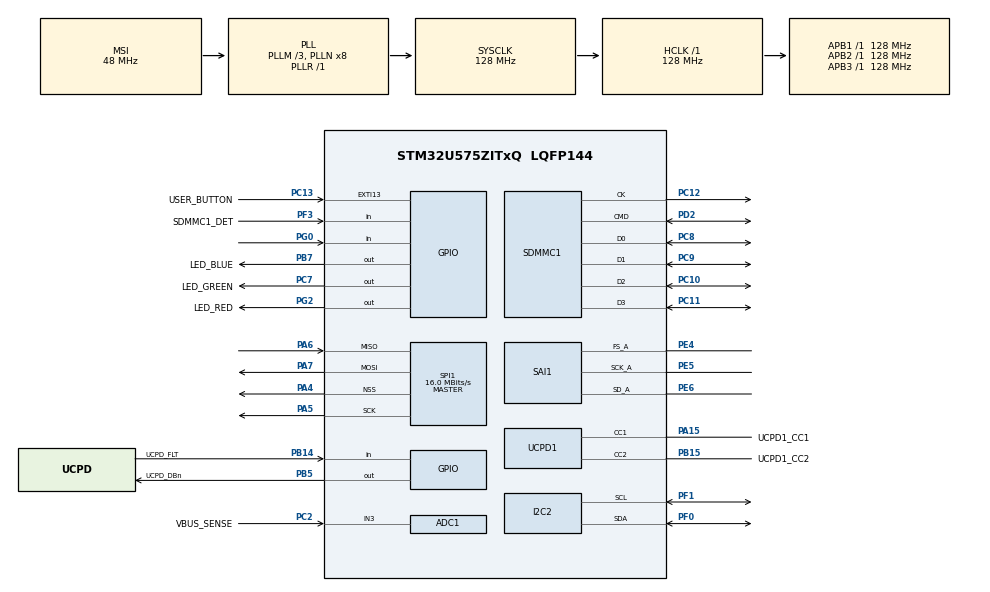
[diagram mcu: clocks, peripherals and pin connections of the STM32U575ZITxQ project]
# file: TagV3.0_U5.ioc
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ADC1.NbrOfConversion=1
ADC1.Resolution=ADC_RESOLUTION_14B
ADC1.master=1
CORTEX_M33_NS.userName=CORTEX_M33
FILEX.FX_FAULT_TOLERANT=1
FILEX.FX_FAULT_TOLERANT_DATA=1
FILEX.FX_SD_INTERFACE=1
GPDMA1.CIRCULARMODE_GPDMACH0=ENABLE
GPDMA1.DESTBURSTLENGTH_GPDMACH0=1
GPDMA1.DESTDATAWIDTH_GPDMACH0=DMA_DEST_DATAWIDTH_BYTE
GPDMA1.DESTINC_GPDMACH0=DMA_DINC_INCREMENTED
GPDMA1.IPHANDLE_GPDMACH0-SIMPLEREQUEST_GPDMACH0=__NULL
GPDMA1.PRIORITY_LL_CIRCULAR_GPDMACH0=DMA_HIGH_PRIORITY
GPDMA1.REQUEST_GPDMACH0=GPDMA1_REQUEST_SAI1_A
GPDMA1.SRCBURSTLENGTH_GPDMACH0=1
GPDMA1.SRCDATAWIDTH_GPDMACH0=DMA_SRC_DATAWIDTH_BYTE
I2C2.Timing=0x20A0C4DF
Mcu.Family=STM32U5
Mcu.Name=STM32U575ZITxQ
Mcu.Package=LQFP144
NVIC.GPDMA1_Channel0_IRQn=true\:0\:0\:false\:false\:true\:false\:true\:true
NVIC.PriorityGroup=NVIC_PRIORITYGROUP_3
NVIC.SDMMC1_IRQn=true\:0\:0\:false\:false\:true\:true\:true\:true
PA11.GPIO_Label=USB_OTG_FS_DM
PA11.GPIO_Speed=GPIO_SPEED_FREQ_VERY_HIGH
PA11.Signal=USB_OTG_FS_DM
PA12.GPIO_Label=USB_OTG_FS_DP
PA12.GPIO_Speed=GPIO_SPEED_FREQ_VERY_HIGH
PA12.Signal=USB_OTG_FS_DP
PA13\ (JTMS/SWDIO).Mode=Trace_Asynchronous_SW
PA13\ (JTMS/SWDIO).Signal=DEBUG_JTMS-SWDIO
PA14\ (JTCK/SWCLK).Mode=Trace_Asynchronous_SW
PA14\ (JTCK/SWCLK).Signal=DEBUG_JTCK-SWCLK
PA15\ (JTDI).GPIO_Label=UCPD1_CC1
PA15\ (JTDI).Mode=Sink_AllSignals
PA15\ (JTDI).Signal=UCPD1_CC1
PA4.Mode=NSS_Signal_Hard_Output
PA4.Signal=SPI1_NSS
PA5.Mode=Full_Duplex_Master
PA5.Signal=SPI1_SCK
PA6.Mode=Full_Duplex_Master
PA6.Signal=SPI1_MISO
PA7.Mode=Full_Duplex_Master
PA7.Signal=SPI1_MOSI
PB14.GPIO_Label=UCPD_FLT
PB14.Signal=GPIO_Input
PB15.GPIO_Label=UCPD1_CC2
PB15.Mode=Sink_AllSignals
PB15.Signal=UCPD1_CC2
PB3\ (JTDO/TRACESWO).Mode=Trace_Asynchronous_SW
PB3\ (JTDO/TRACESWO).Signal=DEBUG_JTDO-SWO
PB5.GPIO_Label=UCPD_DBn
PB5.Signal=GPIO_Output
PB7.GPIO_Label=LED_BLUE
PB7.GPIO_ModeDefaultOutputPP=GPIO_MODE_OUTPUT_PP
PB7.GPIO_PuPd=GPIO_PULLUP
PB7.GPIO_Speed=GPIO_SPEED_FREQ_HIGH
PB7.Signal=GPIO_Output
PC10.Mode=SD_4_bits_Wide_bus
PC10.Signal=SDMMC1_D2
PC11.Mode=SD_4_bits_Wide_bus
PC11.Signal=SDMMC1_D3
PC12.Mode=SD_4_bits_Wide_bus
PC12.Signal=SDMMC1_CK
PC13.GPIO_Label=USER_BUTTON
PC13.GPIO_ModeDefaultEXTI=GPIO_MODE_IT_FALLING
PC13.Signal=GPXTI13
PC14-OSC32_IN\ (PC14).Mode=LSE-External-Oscillator
PC14-OSC32_IN\ (PC14).Signal=RCC_OSC32_IN
PC15-OSC32_OUT\ (PC15).Mode=LSE-External-Oscillator
PC15-OSC32_OUT\ (PC15).Signal=RCC_OSC32_OUT
PC2.GPIO_Label=VBUS_SENSE
PC2.Mode=IN3-Single-Ended
PC2.Signal=ADC1_IN3
PC7.GPIO_Label=LED_GREEN
PC7.GPIO_PuPd=GPIO_PULLUP
PC7.GPIO_Speed=GPIO_SPEED_FREQ_HIGH
PC7.Signal=GPIO_Output
PC8.Mode=SD_4_bits_Wide_bus
PC8.Signal=SDMMC1_D0
PC9.Mode=SD_4_bits_Wide_bus
PC9.Signal=SDMMC1_D1
PD2.Mode=SD_4_bits_Wide_bus
PD2.Signal=SDMMC1_CMD
PE4.Mode=SAI_A_AsyncSlave
PE4.Signal=SAI1_FS_A
PE5.Mode=SAI_A_AsyncSlave
PE5.Signal=SAI1_SCK_A
PE6.Mode=SAI_A_AsyncSlave
PE6.Signal=SAI1_SD_A
PF0.Mode=I2C
PF0.Signal=I2C2_SDA
PF1.Mode=I2C
PF1.Signal=I2C2_SCL
PF3.GPIO_Label=SDMMC1_DET
PF3.Signal=GPIO_Input
PG0.Signal=GPIO_Input
PG2.GPIO_Label=LED_RED
PG2.GPIO_ModeDefaultOutputPP=GPIO_MODE_OUTPUT_PP
PG2.GPIO_PuPd=GPIO_PULLUP
PG2.GPIO_Speed=GPIO_SPEED_FREQ_HIGH
PG2.Signal=GPIO_Output
PWR.PowerMode=PWR_SMPS_SUPPLY
ProjectManager.HeapSize=0x200
ProjectManager.StackSize=0x400
ProjectManager.TargetToolchain=STM32CubeIDE
RCC.ADCFreq_Value=16000000
RCC.AHBFreq_Value=128000000
RCC.APB1Freq_Value=128000000
RCC.APB1TimFreq_Value=128000000
RCC.APB2Freq_Value=128000000
RCC.APB2TimFreq_Value=128000000
RCC.APB3Freq_Value=128000000
RCC.CortexFreq_Value=128000000
RCC.DACCLockSelectionVirtual=RCC_DAC1CLKSOURCE_LSI
RCC.EPOD_VALUE=48000000
RCC.HCLKFreq_Value=128000000
RCC.HSE_VALUE=16000000
RCC.HSI48_VALUE=48000000
RCC.HSI_VALUE=16000000
RCC.LSIDIV_VALUE=32000
RCC.MSIClockRange=RCC_MSIRANGE_0
RCC.MSI_VALUE=48000000
RCC.PLL1P=1
RCC.PLL1R=1
RCC.PLL2FRACN=0
RCC.PLL2M=3
RCC.PLL2N=8
RCC.PLL2P=1
RCC.PLLFRACN=0
RCC.PLLM=3
RCC.PLLN=8
RCC.SDMMCClockSelection=RCC_SDMMCCLKSOURCE_CLK48
RCC.SYSCLKFreq_VALUE=128000000
RCC.SYSCLKSource=RCC_SYSCLKSOURCE_PLLCLK
RCC.USBFreq_Value=48000000
RCC.VCOOutputFreq_Value=128000000
RTC.BinMode=RTC_BINARY_NONE
RTC.Date=27
RTC.Format=RTC_FORMAT_BIN
RTC.Month=RTC_MONTH_APRIL
RTC.WeekDay=RTC_WEEKDAY_THURSDAY
RTC.Year=23
SAI1.DataSize-SAI_A_AsyncSlave=SAI_DATASIZE_8
SAI1.FirstBitOffset-SAI_A_AsyncSlave=0
SAI1.FrameLength-SAI_A_AsyncSlave=128
SAI1.Instance-SAI_A_AsyncSlave=SAI$Index_Block_A
SAI1.MonoStereoMode-SAI_A_AsyncSlave=SAI_STEREOMODE
SAI1.SlotActive-SAI_A_AsyncSlave=0x00000FFF
SAI1.SlotNumber-SAI_A_AsyncSlave=16
SAI1.SlotSize-SAI_A_AsyncSlave=SAI_SLOTSIZE_DATASIZE
SAI1.VirtualMode-SAI_A_AsyncSlave=VM_SLAVE
SAI1.VirtualSlotActive-SAI_A_AsyncSlave=SAI_SLOT_USERSETTING
SAI1.VirtualSlotActive0-SAI_A_AsyncSlave=true
SAI1.VirtualSlotActive1-SAI_A_AsyncSlave=true
SAI1.VirtualSlotActive10-SAI_A_AsyncSlave=true
SAI1.VirtualSlotActive11-SAI_A_AsyncSlave=true
SAI1.VirtualSlotActive2-SAI_A_AsyncSlave=true
SAI1.VirtualSlotActive3-SAI_A_AsyncSlave=true
SAI1.VirtualSlotActive4-SAI_A_AsyncSlave=true
SAI1.VirtualSlotActive5-SAI_A_AsyncSlave=true
SAI1.VirtualSlotActive6-SAI_A_AsyncSlave=true
SAI1.VirtualSlotActive7-SAI_A_AsyncSlave=true
SAI1.VirtualSlotActive8-SAI_A_AsyncSlave=true
SAI1.VirtualSlotActive9-SAI_A_AsyncSlave=true
SDMMC1.ClockDiv=2
SDMMC1.ClockEdge=SDMMC_CLOCK_EDGE_RISING
SDMMC1.ClockPowerSave=SDMMC_CLOCK_POWER_SAVE_ENABLE
SDMMC1.HardwareFlowControl=SDMMC_HARDWARE_FLOW_CONTROL_DISABLE
SDMMC1.TransceiverPresent=SDMMC_TRANSCEIVER_NOT_PRESENT
SPI1.BaudRatePrescaler=SPI_BAUDRATEPRESCALER_8
SPI1.CalculateBaudRate=16.0 MBits/s
SPI1.DataSize=SPI_DATASIZE_16BIT
SPI1.Direction=SPI_DIRECTION_2LINES
SPI1.MasterInterDataIdleness=SPI_MASTER_INTERDATA_IDLENESS_08CYCLE
SPI1.MasterKeepIOState=SPI_MASTER_KEEP_IO_STATE_DISABLE
SPI1.MasterSSIdleness=SPI_MASTER_SS_IDLENESS_00CYCLE
SPI1.Mode=SPI_MODE_MASTER
SPI1.VirtualNSS=VM_NSSHARD
SPI1.VirtualType=VM_MASTER
VP_FILEX_VS_FileOoSystemJjFileXJjCore.Mode=FileX_Core
VP_FILEX_VS_SDOointerface.Mode=SD_interface
VP_GPDMA1_VS_GPDMACH0.Mode=SIMPLEREQUEST_GPDMACH0
VP_LPBAMQUEUE_VS_QUEUE.Mode=QUEUEMODE
VP_LPBAM_VS_SIG1.Mode=SmartRun
VP_LPBAM_VS_SIG4.Mode=LPDMA1
VP_PWR_VS_DBSignals.Mode=DisableDeadBatterySignals
VP_PWR_VS_LPOM.Mode=PowerOptimisation
VP_PWR_VS_SECSignals.Mode=Security/Privilege
VP_RTC_VS_RTC_Activate.Mode=RTC_Enabled
VP_RTC_VS_RTC_Calendar.Mode=RTC_Calendar
board=NUCLEO-U575ZI-Q

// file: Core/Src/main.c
/* USER CODE BEGIN Header */
/**
  ******************************************************************************
  * @file           : main.c
  * @brief          : Main program body
  ******************************************************************************
  * @attention
  *
  * Copyright (c) 2023 STMicroelectronics.
  * All rights reserved.
  *
  * This software is licensed under terms that can be found in the LICENSE file
  * in the root directory of this software component.
  * If no LICENSE file comes with this software, it is provided AS-IS.
  *
  ******************************************************************************
  */
/* USER CODE END Header */
#include "main.h"
#include "app_filex.h"

/* USER CODE BEGIN Includes */
#include "ad7768.h"
#include "config.h"
#include "UnitTests.h"
/* USER CODE END Includes */

/* USER CODE BEGIN PTD */
typedef enum {
    AUDIO_BUF_STATE_EMPTY,
    AUDIO_BUF_STATE_HALF_FULL,
    AUDIO_BUF_STATE_FULL
}AudioBufferState;
/* USER CODE END PTD */

/* USER CODE BEGIN PM */
#define AUDIO_BUFFER_SIZE_SAMPLES (1600)
#define AUDIO_CHANNELS            (3)
#define AUDIO_BUFFER_SIZE_WORDS   (AUDIO_BUFFER_SIZE_SAMPLES * AUDIO_CHANNELS)
#define AUDIO_BUFFER_SIZE_BYTES   (AUDIO_BUFFER_SIZE_SAMPLES * AUDIO_CHANNELS * sizeof(uint32_t))
/* USER CODE END PM */

ADC_HandleTypeDef hadc1;

I2C_HandleTypeDef hi2c2;

RTC_HandleTypeDef hrtc;

SAI_HandleTypeDef hsai_BlockA1;
DMA_NodeTypeDef Node_GPDMA1_Channel0;
DMA_QListTypeDef List_GPDMA1_Channel0;
DMA_HandleTypeDef handle_GPDMA1_Channel0;

SD_HandleTypeDef hsd1;

SPI_HandleTypeDef hspi1;

/* USER CODE BEGIN PV */
ad7768_dev adc;
uint32_t audio_buffer[2][AUDIO_BUFFER_SIZE_SAMPLES][AUDIO_CHANNELS];
volatile AudioBufferState audio_buffer_state = AUDIO_BUF_STATE_EMPTY;

/* Define FileX global data structures.  */
FX_MEDIA        sdio_disk = {}; //struct must be initialized or invalid pointers exist

/* Buffer for FileX FX_MEDIA sector cache. */
ALIGN_32BYTES (uint32_t fx_sd_media_memory[FX_STM32_SD_DEFAULT_SECTOR_SIZE / sizeof(uint32_t)]);
TagConfig cfg;

/* USER CODE BEGIN PV */

/* Define FileX global data structures.  */
FX_FILE         fs;
FX_FILE         audio_file = {};
/* USER CODE END PV */

void SystemClock_Config(void);
static void SystemPower_Config(void);
static void MX_GPIO_Init(void);
static void MX_GPDMA1_Init(void);
static void MX_UCPD1_Init(void);
static void MX_SAI1_Init(void);
static void MX_ADC1_Init(void);
static void MX_SPI1_Init(void);
static void MX_I2C2_Init(void);
static void MX_SDMMC1_SD_Init(void);
static void MX_RTC_Init(void);

/* USER CODE BEGIN 0 */
#if (USE_HAL_SAI_REGISTER_CALLBACKS == 1)
void audio_SAI_RxHalfCpltCallback (SAI_HandleTypeDef * hsai)
#else
void HAL_SAI_RxHalfCpltCallback (SAI_HandleTypeDef * hsai)
#endif
{
//    if((audio_buffer_state != AUDIO_BUF_STATE_EMPTY)){
//        //To Do: error handling
//        //SD write not fast enough!!!!
//        //make buffer bigger!!!
//        return;
//    }
    audio_buffer_state = AUDIO_BUF_STATE_HALF_FULL;
}

#if (USE_HAL_SAI_REGISTER_CALLBACKS == 1)
void audio_SAI_RxCpltCallback (SAI_HandleTypeDef * hsai)
#else
void HAL_SAI_RxCpltCallback (SAI_HandleTypeDef * hsai)
#endif
{
//    if((audio_buffer_state != AUDIO_BUF_STATE_EMPTY)){
//        //To Do: error handling
//        //SD write not fast enough!!!!
//        //make buffer bigger!!!
//        return;
//    }
    audio_buffer_state = AUDIO_BUF_STATE_FULL;
}

void audio_SDWriteComplete(FX_FILE *file){
    audio_buffer_state = AUDIO_BUF_STATE_EMPTY;
}
/* USER CODE END 0 */

int main(void)
{
  /* USER CODE BEGIN 1 */
  HAL_StatusTypeDef ret;
  /* USER CODE END 1 */

  /* MCU Configuration--------------------------------------------------------*/

  /* Reset of all peripherals, Initializes the Flash interface and the Systick. */
  HAL_Init();

  /* Configure the system clock */
  SystemClock_Config();

  /* Configure the System Power */
  SystemPower_Config();

  /* Initialize all configured peripherals */
  MX_GPIO_Init();
  MX_GPDMA1_Init();
  MX_UCPD1_Init();
  MX_SAI1_Init();
  MX_ADC1_Init();
  MX_SPI1_Init();
  MX_I2C2_Init();
  MX_SDMMC1_SD_Init();
  MX_RTC_Init();
  MX_FileX_Init();
  /* USER CODE BEGIN 2 */
#ifdef UNIT_TESTS
    SDcard_UT();
#endif
  UINT fx_result;
  fx_result = fx_media_open(&sdio_disk, "", fx_stm32_sd_driver, (VOID *)FX_NULL, (VOID *) fx_sd_media_memory, sizeof(fx_sd_media_memory));
  if(fx_result != FX_SUCCESS){
      Error_Handler();
  }

  //read config file
  FX_FILE cfg_file;
  fx_result = fx_file_open(&sdio_disk, &cfg_file, "config.txt", FX_OPEN_FOR_READ);
  if(fx_result != FX_SUCCESS){
    TagConfig_read(&cfg, NULL); //default config
  }else{
    TagConfig_read(&cfg, &cfg_file);
  }
  fx_file_close(&cfg_file);

  //modify peripherals based on config settings

  //ToDo: generate filename from timestamp
  fx_result = fx_file_create(&sdio_disk, "audio_test3.bin");
  if((fx_result != FX_SUCCESS) && (fx_result != FX_ALREADY_CREATED)){
      Error_Handler();
  }

    //create audio file
  fx_result = fx_file_open(&sdio_disk, &audio_file, "audio_test3.bin", FX_OPEN_FOR_WRITE);
  if(fx_result != FX_SUCCESS){
      Error_Handler();
  }

  fx_result = fx_file_write_notify_set(&audio_file, audio_SDWriteComplete);
  if(fx_result != FX_SUCCESS){
      Error_Handler();
  }

  // initiate ADC/circular DMA Read
  ad7768_setup(&adc, &hspi1);
#if (USE_HAL_SAI_REGISTER_CALLBACKS == 1)
  HAL_SAI_RegisterCallback(&hsai_BlockA1, HAL_SAI_RX_HALFCOMPLETE_CB_ID, audio_SAI_RxHalfCpltCallback);
  HAL_SAI_RegisterCallback(&hsai_BlockA1, HAL_SAI_RX_COMPLETE_CB_ID, audio_SAI_RxCpltCallback);
#endif
  ret = HAL_SAI_Receive_DMA(&hsai_BlockA1, (uint8_t *)audio_buffer, 2*AUDIO_BUFFER_SIZE_BYTES);
  if(ret != HAL_OK){
    Error_Handler();
  }

  /* USER CODE END 2 */

  /* Infinite loop */
  /* USER CODE BEGIN WHILE */
  int count = 0;
  while (count < 5)
  {
      switch(audio_buffer_state){
          default: break;
          case AUDIO_BUF_STATE_HALF_FULL:
              fx_result = fx_file_write(&audio_file, audio_buffer[0], AUDIO_BUFFER_SIZE_BYTES);
              if(fx_result != FX_SUCCESS){
                  count = 5;
              }
              audio_buffer_state = AUDIO_BUF_STATE_EMPTY;
              break;
          case AUDIO_BUF_STATE_FULL:
              fx_result = fx_file_write(&audio_file, audio_buffer[1], AUDIO_BUFFER_SIZE_BYTES);
              if(fx_result != FX_SUCCESS){
                  count = 5;
              }
              audio_buffer_state = AUDIO_BUF_STATE_EMPTY;
              count++;
              break;
      }
    /* USER CODE END WHILE */

    /* USER CODE BEGIN 3 */
  }

  fx_file_close(&audio_file);
  fx_media_close(&sdio_disk);
  HAL_GPIO_WritePin(LED_GREEN_GPIO_Port, LED_GREEN_Pin, GPIO_PIN_SET);
  HAL_GPIO_WritePin(LED_BLUE_GPIO_Port, LED_BLUE_Pin, GPIO_PIN_SET);

  while(1){

//      if(sensor_buffer_full){
//          write to output
//      }

      //sleep!
  }
  /* USER CODE END 3 */
}

void SystemClock_Config(void)
{
  RCC_OscInitTypeDef RCC_OscInitStruct = {0};
  RCC_ClkInitTypeDef RCC_ClkInitStruct = {0};

  /** Configure the main internal regulator output voltage
  */
  if (HAL_PWREx_ControlVoltageScaling(PWR_REGULATOR_VOLTAGE_SCALE1) != HAL_OK)
  {
    Error_Handler();
  }

  /** Initializes the CPU, AHB and APB buses clocks
  */
  RCC_OscInitStruct.OscillatorType = RCC_OSCILLATORTYPE_HSI48|RCC_OSCILLATORTYPE_HSI
                              |RCC_OSCILLATORTYPE_LSI|RCC_OSCILLATORTYPE_MSI;
  RCC_OscInitStruct.HSIState = RCC_HSI_ON;
  RCC_OscInitStruct.HSI48State = RCC_HSI48_ON;
  RCC_OscInitStruct.HSICalibrationValue = RCC_HSICALIBRATION_DEFAULT;
  RCC_OscInitStruct.LSIState = RCC_LSI_ON;
  RCC_OscInitStruct.MSIState = RCC_MSI_ON;
  RCC_OscInitStruct.MSICalibrationValue = RCC_MSICALIBRATION_DEFAULT;
  RCC_OscInitStruct.MSIClockRange = RCC_MSIRANGE_0;
  RCC_OscInitStruct.LSIDiv = RCC_LSI_DIV1;
  RCC_OscInitStruct.PLL.PLLState = RCC_PLL_ON;
  RCC_OscInitStruct.PLL.PLLSource = RCC_PLLSOURCE_MSI;
  RCC_OscInitStruct.PLL.PLLMBOOST = RCC_PLLMBOOST_DIV4;
  RCC_OscInitStruct.PLL.PLLM = 3;
  RCC_OscInitStruct.PLL.PLLN = 8;
  RCC_OscInitStruct.PLL.PLLP = 1;
  RCC_OscInitStruct.PLL.PLLQ = 2;
  RCC_OscInitStruct.PLL.PLLR = 1;
  RCC_OscInitStruct.PLL.PLLRGE = RCC_PLLVCIRANGE_1;
  RCC_OscInitStruct.PLL.PLLFRACN = 0;
  if (HAL_RCC_OscConfig(&RCC_OscInitStruct) != HAL_OK)
  {
    Error_Handler();
  }

  /** Initializes the CPU, AHB and APB buses clocks
  */
  RCC_ClkInitStruct.ClockType = RCC_CLOCKTYPE_HCLK|RCC_CLOCKTYPE_SYSCLK
                              |RCC_CLOCKTYPE_PCLK1|RCC_CLOCKTYPE_PCLK2
                              |RCC_CLOCKTYPE_PCLK3;
  RCC_ClkInitStruct.SYSCLKSource = RCC_SYSCLKSOURCE_PLLCLK;
  RCC_ClkInitStruct.AHBCLKDivider = RCC_SYSCLK_DIV1;
  RCC_ClkInitStruct.APB1CLKDivider = RCC_HCLK_DIV1;
  RCC_ClkInitStruct.APB2CLKDivider = RCC_HCLK_DIV1;
  RCC_ClkInitStruct.APB3CLKDivider = RCC_HCLK_DIV1;

  if (HAL_RCC_ClockConfig(&RCC_ClkInitStruct, FLASH_LATENCY_3) != HAL_OK)
  {
    Error_Handler();
  }
}

/**
  * @brief Power Configuration
  * @retval None
  */
static void SystemPower_Config(void)
{
  HAL_PWREx_EnableVddIO2();

  /*
   * Switch to SMPS regulator instead of LDO
   */
  if (HAL_PWREx_ConfigSupply(PWR_SMPS_SUPPLY) != HAL_OK)
  {
    Error_Handler();
  }
}

static void MX_ADC1_Init(void)
{

  /** Common config
  */
  hadc1.Instance = ADC1;
  hadc1.Init.ClockPrescaler = ADC_CLOCK_ASYNC_DIV1;
  hadc1.Init.Resolution = ADC_RESOLUTION_14B;
  hadc1.Init.GainCompensation = 0;
  hadc1.Init.ScanConvMode = ADC_SCAN_DISABLE;
  hadc1.Init.EOCSelection = ADC_EOC_SINGLE_CONV;
  hadc1.Init.LowPowerAutoWait = DISABLE;
  hadc1.Init.ContinuousConvMode = DISABLE;
  hadc1.Init.NbrOfConversion = 1;
  hadc1.Init.DiscontinuousConvMode = DISABLE;
  hadc1.Init.DMAContinuousRequests = DISABLE;
  hadc1.Init.TriggerFrequencyMode = ADC_TRIGGER_FREQ_HIGH;
  hadc1.Init.Overrun = ADC_OVR_DATA_PRESERVED;
  hadc1.Init.LeftBitShift = ADC_LEFTBITSHIFT_NONE;
  hadc1.Init.ConversionDataManagement = ADC_CONVERSIONDATA_DR;
  hadc1.Init.OversamplingMode = DISABLE;
  if (HAL_ADC_Init(&hadc1) != HAL_OK)
  {
    Error_Handler();
  }

}

static void MX_GPDMA1_Init(void)
{

  /* Peripheral clock enable */
  __HAL_RCC_GPDMA1_CLK_ENABLE();

  /* GPDMA1 interrupt Init */
    HAL_NVIC_SetPriority(GPDMA1_Channel0_IRQn, 0, 0);
    HAL_NVIC_EnableIRQ(GPDMA1_Channel0_IRQn);

}

static void MX_I2C2_Init(void)
{

  hi2c2.Instance = I2C2;
  hi2c2.Init.Timing = 0x20A0C4DF;
  hi2c2.Init.OwnAddress1 = 0;
  hi2c2.Init.AddressingMode = I2C_ADDRESSINGMODE_7BIT;
  hi2c2.Init.DualAddressMode = I2C_DUALADDRESS_DISABLE;
  hi2c2.Init.OwnAddress2 = 0;
  hi2c2.Init.OwnAddress2Masks = I2C_OA2_NOMASK;
  hi2c2.Init.GeneralCallMode = I2C_GENERALCALL_DISABLE;
  hi2c2.Init.NoStretchMode = I2C_NOSTRETCH_DISABLE;
  if (HAL_I2C_Init(&hi2c2) != HAL_OK)
  {
    Error_Handler();
  }

  /** Configure Analogue filter
  */
  if (HAL_I2CEx_ConfigAnalogFilter(&hi2c2, I2C_ANALOGFILTER_ENABLE) != HAL_OK)
  {
    Error_Handler();
  }

  /** Configure Digital filter
  */
  if (HAL_I2CEx_ConfigDigitalFilter(&hi2c2, 0) != HAL_OK)
  {
    Error_Handler();
  }

}

static void MX_RTC_Init(void)
{

  RTC_PrivilegeStateTypeDef privilegeState = {0};
  RTC_TimeTypeDef sTime = {0};
  RTC_DateTypeDef sDate = {0};

  /** Initialize RTC Only
  */
  hrtc.Instance = RTC;
  hrtc.Init.HourFormat = RTC_HOURFORMAT_24;
  hrtc.Init.AsynchPrediv = 127;
  hrtc.Init.SynchPrediv = 255;
  hrtc.Init.OutPut = RTC_OUTPUT_DISABLE;
  hrtc.Init.OutPutRemap = RTC_OUTPUT_REMAP_NONE;
  hrtc.Init.OutPutPolarity = RTC_OUTPUT_POLARITY_HIGH;
  hrtc.Init.OutPutType = RTC_OUTPUT_TYPE_OPENDRAIN;
  hrtc.Init.OutPutPullUp = RTC_OUTPUT_PULLUP_NONE;
  hrtc.Init.BinMode = RTC_BINARY_NONE;
  if (HAL_RTC_Init(&hrtc) != HAL_OK)
  {
    Error_Handler();
  }
  privilegeState.rtcPrivilegeFull = RTC_PRIVILEGE_FULL_NO;
  privilegeState.backupRegisterPrivZone = RTC_PRIVILEGE_BKUP_ZONE_NONE;
  privilegeState.backupRegisterStartZone2 = RTC_BKP_DR0;
  privilegeState.backupRegisterStartZone3 = RTC_BKP_DR0;
  if (HAL_RTCEx_PrivilegeModeSet(&hrtc, &privilegeState) != HAL_OK)
  {
    Error_Handler();
  }

  /** Initialize RTC and set the Time and Date
  */
  sTime.Hours = 0;
  sTime.Minutes = 0;
  sTime.Seconds = 0;
  sTime.DayLightSaving = RTC_DAYLIGHTSAVING_NONE;
  sTime.StoreOperation = RTC_STOREOPERATION_RESET;
  if (HAL_RTC_SetTime(&hrtc, &sTime, RTC_FORMAT_BIN) != HAL_OK)
  {
    Error_Handler();
  }
  sDate.WeekDay = RTC_WEEKDAY_THURSDAY;
  sDate.Month = RTC_MONTH_APRIL;
  sDate.Date = 27;
  sDate.Year = 23;

  if (HAL_RTC_SetDate(&hrtc, &sDate, RTC_FORMAT_BIN) != HAL_OK)
  {
    Error_Handler();
  }

}

static void MX_SAI1_Init(void)
{

  hsai_BlockA1.Instance = SAI1_Block_A;
  hsai_BlockA1.Init.Protocol = SAI_FREE_PROTOCOL;
  hsai_BlockA1.Init.AudioMode = SAI_MODESLAVE_RX;
  hsai_BlockA1.Init.DataSize = SAI_DATASIZE_8;
  hsai_BlockA1.Init.FirstBit = SAI_FIRSTBIT_MSB;
  hsai_BlockA1.Init.ClockStrobing = SAI_CLOCKSTROBING_FALLINGEDGE;
  hsai_BlockA1.Init.Synchro = SAI_ASYNCHRONOUS;
  hsai_BlockA1.Init.OutputDrive = SAI_OUTPUTDRIVE_DISABLE;
  hsai_BlockA1.Init.FIFOThreshold = SAI_FIFOTHRESHOLD_EMPTY;
  hsai_BlockA1.Init.SynchroExt = SAI_SYNCEXT_DISABLE;
  hsai_BlockA1.Init.MckOutput = SAI_MCK_OUTPUT_ENABLE;
  hsai_BlockA1.Init.MonoStereoMode = SAI_STEREOMODE;
  hsai_BlockA1.Init.CompandingMode = SAI_NOCOMPANDING;
  hsai_BlockA1.Init.TriState = SAI_OUTPUT_NOTRELEASED;
  hsai_BlockA1.Init.PdmInit.Activation = DISABLE;
  hsai_BlockA1.Init.PdmInit.MicPairsNbr = 1;
  hsai_BlockA1.Init.PdmInit.ClockEnable = SAI_PDM_CLOCK1_ENABLE;
  hsai_BlockA1.FrameInit.FrameLength = 128;
  hsai_BlockA1.FrameInit.ActiveFrameLength = 1;
  hsai_BlockA1.FrameInit.FSDefinition = SAI_FS_STARTFRAME;
  hsai_BlockA1.FrameInit.FSPolarity = SAI_FS_ACTIVE_LOW;
  hsai_BlockA1.FrameInit.FSOffset = SAI_FS_FIRSTBIT;
  hsai_BlockA1.SlotInit.FirstBitOffset = 0;
  hsai_BlockA1.SlotInit.SlotSize = SAI_SLOTSIZE_DATASIZE;
  hsai_BlockA1.SlotInit.SlotNumber = 16;
  hsai_BlockA1.SlotInit.SlotActive = 0x00000FFF;
  if (HAL_SAI_Init(&hsai_BlockA1) != HAL_OK)
  {
    Error_Handler();
  }

}

static void MX_SDMMC1_SD_Init(void)
{

  hsd1.Instance = SDMMC1;
  hsd1.Init.ClockEdge = SDMMC_CLOCK_EDGE_RISING;
  hsd1.Init.ClockPowerSave = SDMMC_CLOCK_POWER_SAVE_ENABLE;
  hsd1.Init.BusWide = SDMMC_BUS_WIDE_4B;
  hsd1.Init.HardwareFlowControl = SDMMC_HARDWARE_FLOW_CONTROL_DISABLE;
  hsd1.Init.ClockDiv = 2;
  if (HAL_SD_Init(&hsd1) != HAL_OK)
  {
    Error_Handler();
  }

}

static void MX_SPI1_Init(void)
{

  SPI_AutonomousModeConfTypeDef HAL_SPI_AutonomousMode_Cfg_Struct = {0};

  /* SPI1 parameter configuration*/
  hspi1.Instance = SPI1;
  hspi1.Init.Mode = SPI_MODE_MASTER;
  hspi1.Init.Direction = SPI_DIRECTION_2LINES;
  hspi1.Init.DataSize = SPI_DATASIZE_16BIT;
  hspi1.Init.CLKPolarity = SPI_POLARITY_LOW;
  hspi1.Init.CLKPhase = SPI_PHASE_1EDGE;
  hspi1.Init.NSS = SPI_NSS_HARD_OUTPUT;
  hspi1.Init.BaudRatePrescaler = SPI_BAUDRATEPRESCALER_8;
  hspi1.Init.FirstBit = SPI_FIRSTBIT_MSB;
  hspi1.Init.TIMode = SPI_TIMODE_DISABLE;
  hspi1.Init.CRCCalculation = SPI_CRCCALCULATION_DISABLE;
  hspi1.Init.CRCPolynomial = 0x7;
  hspi1.Init.NSSPMode = SPI_NSS_PULSE_ENABLE;
  hspi1.Init.NSSPolarity = SPI_NSS_POLARITY_LOW;
  hspi1.Init.FifoThreshold = SPI_FIFO_THRESHOLD_01DATA;
  hspi1.Init.MasterSSIdleness = SPI_MASTER_SS_IDLENESS_00CYCLE;
  hspi1.Init.MasterInterDataIdleness = SPI_MASTER_INTERDATA_IDLENESS_08CYCLE;
  hspi1.Init.MasterReceiverAutoSusp = SPI_MASTER_RX_AUTOSUSP_DISABLE;
  hspi1.Init.MasterKeepIOState = SPI_MASTER_KEEP_IO_STATE_DISABLE;
  hspi1.Init.IOSwap = SPI_IO_SWAP_DISABLE;
  hspi1.Init.ReadyMasterManagement = SPI_RDY_MASTER_MANAGEMENT_INTERNALLY;
  hspi1.Init.ReadyPolarity = SPI_RDY_POLARITY_HIGH;
  if (HAL_SPI_Init(&hspi1) != HAL_OK)
  {
    Error_Handler();
  }
  HAL_SPI_AutonomousMode_Cfg_Struct.TriggerState = SPI_AUTO_MODE_DISABLE;
  HAL_SPI_AutonomousMode_Cfg_Struct.TriggerSelection = SPI_GRP1_GPDMA_CH0_TCF_TRG;
  HAL_SPI_AutonomousMode_Cfg_Struct.TriggerPolarity = SPI_TRIG_POLARITY_RISING;
  if (HAL_SPIEx_SetConfigAutonomousMode(&hspi1, &HAL_SPI_AutonomousMode_Cfg_Struct) != HAL_OK)
  {
    Error_Handler();
  }

}

static void MX_UCPD1_Init(void)
{

  LL_GPIO_InitTypeDef GPIO_InitStruct = {0};

  /* Peripheral clock enable */
  LL_APB1_GRP2_EnableClock(LL_APB1_GRP2_PERIPH_UCPD1);

  LL_AHB2_GRP1_EnableClock(LL_AHB2_GRP1_PERIPH_GPIOB);
  LL_AHB2_GRP1_EnableClock(LL_AHB2_GRP1_PERIPH_GPIOA);
  /**UCPD1 GPIO Configuration
  PB15   ------> UCPD1_CC2
  PA15 (JTDI)   ------> UCPD1_CC1
  */
  GPIO_InitStruct.Pin = LL_GPIO_PIN_15;
  GPIO_InitStruct.Mode = LL_GPIO_MODE_ANALOG;
  GPIO_InitStruct.Pull = LL_GPIO_PULL_NO;
  LL_GPIO_Init(GPIOB, &GPIO_InitStruct);

  GPIO_InitStruct.Pin = LL_GPIO_PIN_15;
  GPIO_InitStruct.Mode = LL_GPIO_MODE_ANALOG;
  GPIO_InitStruct.Pull = LL_GPIO_PULL_NO;
  LL_GPIO_Init(GPIOA, &GPIO_InitStruct);

}

static void MX_GPIO_Init(void)
{
  GPIO_InitTypeDef GPIO_InitStruct = {0};

  /* GPIO Ports Clock Enable */
  __HAL_RCC_GPIOE_CLK_ENABLE();
  __HAL_RCC_GPIOC_CLK_ENABLE();
  __HAL_RCC_GPIOF_CLK_ENABLE();
  __HAL_RCC_GPIOA_CLK_ENABLE();
  __HAL_RCC_GPIOG_CLK_ENABLE();
  __HAL_RCC_GPIOB_CLK_ENABLE();
  __HAL_RCC_GPIOD_CLK_ENABLE();

  /*Configure GPIO pin Output Level */
  HAL_GPIO_WritePin(LED_RED_GPIO_Port, LED_RED_Pin, GPIO_PIN_RESET);

  /*Configure GPIO pin Output Level */
  HAL_GPIO_WritePin(LED_GREEN_GPIO_Port, LED_GREEN_Pin, GPIO_PIN_RESET);

  /*Configure GPIO pin Output Level */
  HAL_GPIO_WritePin(GPIOB, UCPD_DBn_Pin|LED_BLUE_Pin, GPIO_PIN_RESET);

  /*Configure GPIO pin : USER_BUTTON_Pin */
  GPIO_InitStruct.Pin = USER_BUTTON_Pin;
  GPIO_InitStruct.Mode = GPIO_MODE_IT_FALLING;
  GPIO_InitStruct.Pull = GPIO_NOPULL;
  HAL_GPIO_Init(USER_BUTTON_GPIO_Port, &GPIO_InitStruct);

  /*Configure GPIO pin : SDMMC1_DET_Pin */
  GPIO_InitStruct.Pin = SDMMC1_DET_Pin;
  GPIO_InitStruct.Mode = GPIO_MODE_INPUT;
  GPIO_InitStruct.Pull = GPIO_NOPULL;
  HAL_GPIO_Init(SDMMC1_DET_GPIO_Port, &GPIO_InitStruct);

  /*Configure GPIO pin : PG0 */
  GPIO_InitStruct.Pin = GPIO_PIN_0;
  GPIO_InitStruct.Mode = GPIO_MODE_INPUT;
  GPIO_InitStruct.Pull = GPIO_NOPULL;
  HAL_GPIO_Init(GPIOG, &GPIO_InitStruct);

  /*Configure GPIO pin : UCPD_FLT_Pin */
  GPIO_InitStruct.Pin = UCPD_FLT_Pin;
  GPIO_InitStruct.Mode = GPIO_MODE_INPUT;
  GPIO_InitStruct.Pull = GPIO_NOPULL;
  HAL_GPIO_Init(UCPD_FLT_GPIO_Port, &GPIO_InitStruct);

  /*Configure GPIO pin : LED_RED_Pin */
  GPIO_InitStruct.Pin = LED_RED_Pin;
  GPIO_InitStruct.Mode = GPIO_MODE_OUTPUT_PP;
  GPIO_InitStruct.Pull = GPIO_PULLUP;
  GPIO_InitStruct.Speed = GPIO_SPEED_FREQ_HIGH;
  HAL_GPIO_Init(LED_RED_GPIO_Port, &GPIO_InitStruct);

  /*Configure GPIO pin : LED_GREEN_Pin */
  GPIO_InitStruct.Pin = LED_GREEN_Pin;
  GPIO_InitStruct.Mode = GPIO_MODE_OUTPUT_PP;
  GPIO_InitStruct.Pull = GPIO_PULLUP;
  GPIO_InitStruct.Speed = GPIO_SPEED_FREQ_HIGH;
  HAL_GPIO_Init(LED_GREEN_GPIO_Port, &GPIO_InitStruct);

  /*Configure GPIO pins : USB_OTG_FS_DM_Pin USB_OTG_FS_DP_Pin */
  GPIO_InitStruct.Pin = USB_OTG_FS_DM_Pin|USB_OTG_FS_DP_Pin;
  GPIO_InitStruct.Mode = GPIO_MODE_AF_PP;
  GPIO_InitStruct.Pull = GPIO_NOPULL;
  GPIO_InitStruct.Speed = GPIO_SPEED_FREQ_VERY_HIGH;
  GPIO_InitStruct.Alternate = GPIO_AF10_USB;
  HAL_GPIO_Init(GPIOA, &GPIO_InitStruct);

  /*Configure GPIO pin : UCPD_DBn_Pin */
  GPIO_InitStruct.Pin = UCPD_DBn_Pin;
  GPIO_InitStruct.Mode = GPIO_MODE_OUTPUT_PP;
  GPIO_InitStruct.Pull = GPIO_NOPULL;
  GPIO_InitStruct.Speed = GPIO_SPEED_FREQ_LOW;
  HAL_GPIO_Init(UCPD_DBn_GPIO_Port, &GPIO_InitStruct);

  /*Configure GPIO pin : LED_BLUE_Pin */
  GPIO_InitStruct.Pin = LED_BLUE_Pin;
  GPIO_InitStruct.Mode = GPIO_MODE_OUTPUT_PP;
  GPIO_InitStruct.Pull = GPIO_PULLUP;
  GPIO_InitStruct.Speed = GPIO_SPEED_FREQ_HIGH;
  HAL_GPIO_Init(LED_BLUE_GPIO_Port, &GPIO_InitStruct);

}

/* USER CODE BEGIN 4 */
//static void RTC_CalendarShow(void)
//{
//  RTC_DateTypeDef sdatestructureget;
//  RTC_TimeTypeDef stimestructureget;
//
//  /* Get the RTC current Time */
//  HAL_RTC_GetTime(&RtcHandle, &stimestructureget, RTC_FORMAT_BIN);
//  /* Get the RTC current Date */
//  HAL_RTC_GetDate(&RtcHandle, &sdatestructureget, RTC_FORMAT_BIN);
//
//  /* Display time Format : hh:mm:ss */
//  sprintf((char*)aShowTime,"%.2d%.2d%.2d", stimestructureget.Hours, stimestructureget.Minutes, stimestructureget.Seconds);
//  /* Display date Format : mm-dd-yy */
//  sprintf((char*)aShowDate,"%.2d%.2d%.2d",  2000 + sdatestructureget.Year, sdatestructureget.Month, sdatestructureget.Date);
//}
/* USER CODE END 4 */

void Error_Handler(void)
{
  /* USER CODE BEGIN Error_Handler_Debug */
  /* User can add his own implementation to report the HAL error return state */
  __disable_irq();
  HAL_GPIO_WritePin(LED_RED_GPIO_Port, LED_RED_Pin, GPIO_PIN_SET);

  while (1)
  {
  }
  /* USER CODE END Error_Handler_Debug */
}
